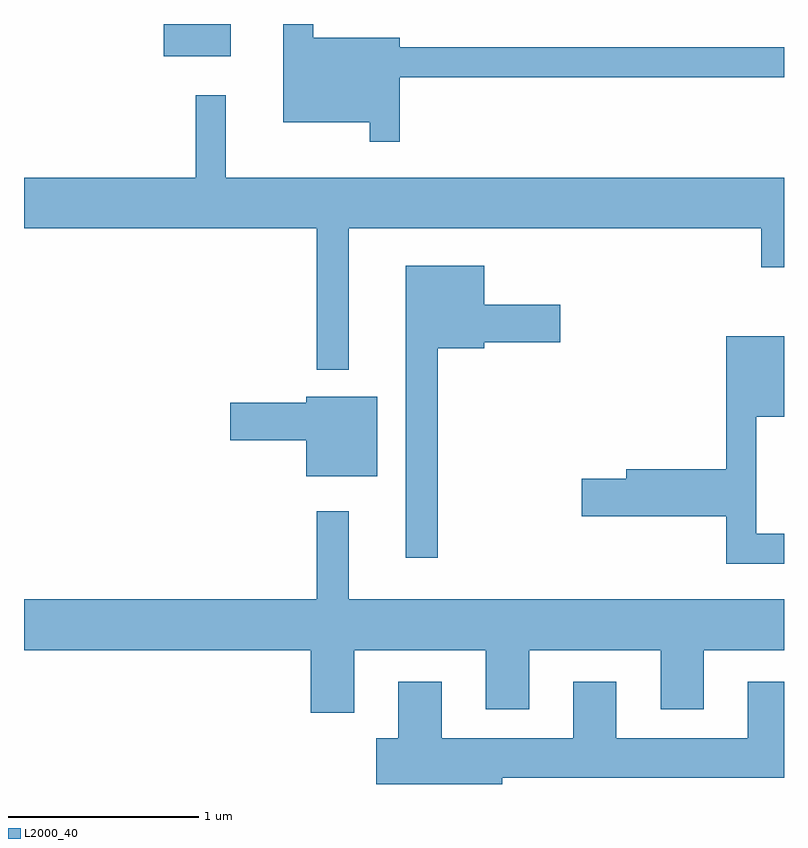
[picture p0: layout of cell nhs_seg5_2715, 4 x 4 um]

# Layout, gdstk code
import gdstk
lib = gdstk.Library(unit=1e-6, precision=1e-09)
def R(c, l, rs):  # rectangles x0, y0, x1, y1
    for r in rs: c.add(gdstk.rectangle(r[:2], r[2:], *l))
def P(c, l, *ps):  # polygons
    for p in ps: c.add(gdstk.Polygon(p, *l))
L2000_40 = (2000, 40)

nhs_seg5_2715 = lib.new_cell('nhs_seg5_2715')
R(nhs_seg5_2715, L2000_40, [(266.346,1479.901,266.699,1480.072)])
P(nhs_seg5_2715, L2000_40, [(267.589,1479.791),(269.611,1479.791),(269.611,1479.949),(267.589,1479.949),(267.589,1479.999),(267.134,1479.999),(267.134,1480.072),(266.976,1480.072),(266.976,1479.556),(267.431,1479.556),(267.431,1479.453),(267.589,1479.453)],
  [(267.319,1478.996),(269.491,1478.996),(269.491,1478.791),(269.611,1478.791),(269.611,1479.264),(266.674,1479.264),(266.674,1479.698),(266.516,1479.698),(266.516,1479.264),(265.611,1479.264),(265.611,1478.996),(267.151,1478.996),(267.151,1478.253),(267.319,1478.253)],
  [(267.789,1478.366),(268.034,1478.366),(268.034,1478.396),(268.434,1478.396),(268.434,1478.594),(268.034,1478.594),(268.034,1478.799),(267.621,1478.799),(267.621,1477.263),(267.789,1477.263)],
  [(269.611,1477.389),(269.464,1477.389),(269.464,1478.006),(269.611,1478.006),(269.611,1478.429),(269.306,1478.429),(269.306,1477.729),(268.781,1477.729),(268.781,1477.679),(268.546,1477.679),(268.546,1477.481),(269.306,1477.481),(269.306,1477.231),(269.611,1477.231)],
  [(267.469,1478.109),(267.096,1478.109),(267.096,1478.079),(266.696,1478.079),(266.696,1477.881),(267.096,1477.881),(267.096,1477.691),(267.469,1477.691)],
  [(267.349,1476.776),(268.041,1476.776),(268.041,1476.466),(268.269,1476.466),(268.269,1476.776),(268.961,1476.776),(268.961,1476.466),(269.189,1476.466),(269.189,1476.776),(269.611,1476.776),(269.611,1477.044),(267.319,1477.044),(267.319,1477.508),(267.151,1477.508),(267.151,1477.044),(265.611,1477.044),(265.611,1476.776),(267.121,1476.776),(267.121,1476.446),(267.349,1476.446)],
  [(268.129,1476.106),(269.611,1476.106),(269.611,1476.609),(269.421,1476.609),(269.421,1476.314),(268.729,1476.314),(268.729,1476.609),(268.501,1476.609),(268.501,1476.314),(267.809,1476.314),(267.809,1476.609),(267.581,1476.609),(267.581,1476.314),(267.466,1476.314),(267.466,1476.072),(268.129,1476.072)])

lib.write_gds('nhs_seg5_2715.gds')
